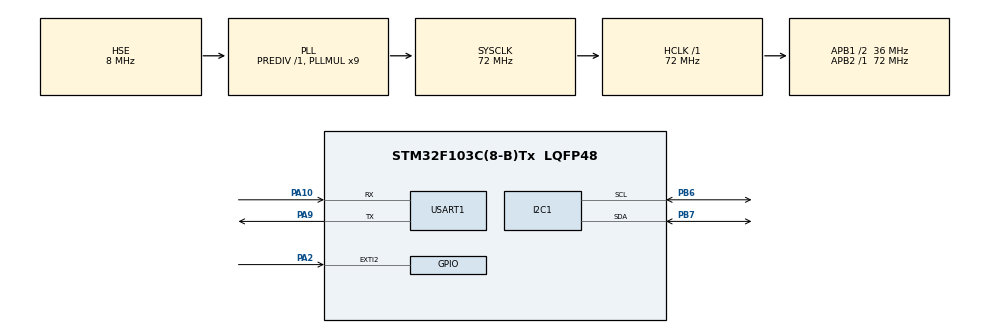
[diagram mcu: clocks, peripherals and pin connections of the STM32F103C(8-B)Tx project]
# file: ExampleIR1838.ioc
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Mcu.Family=STM32F1
Mcu.Name=STM32F103C(8-B)Tx
Mcu.Package=LQFP48
NVIC.EXTI2_IRQn=true\:0\:0\:false\:false\:true\:true\:true\:true
NVIC.PriorityGroup=NVIC_PRIORITYGROUP_4
PA10.Mode=Asynchronous
PA10.Signal=USART1_RX
PA13.Mode=Serial_Wire
PA13.Signal=SYS_JTMS-SWDIO
PA14.Mode=Serial_Wire
PA14.Signal=SYS_JTCK-SWCLK
PA2.GPIO_ModeDefaultEXTI=GPIO_MODE_IT_RISING_FALLING
PA2.GPIO_PuPd=GPIO_PULLUP
PA2.Signal=GPXTI2
PA9.Mode=Asynchronous
PA9.Signal=USART1_TX
PB6.Mode=I2C
PB6.Signal=I2C1_SCL
PB7.Mode=I2C
PB7.Signal=I2C1_SDA
PD0-OSC_IN.Mode=HSE-External-Oscillator
PD0-OSC_IN.Signal=RCC_OSC_IN
PD1-OSC_OUT.Mode=HSE-External-Oscillator
PD1-OSC_OUT.Signal=RCC_OSC_OUT
ProjectManager.HeapSize=0x200
ProjectManager.StackSize=0x400
ProjectManager.TargetToolchain=STM32CubeIDE
RCC.AHBFreq_Value=72000000
RCC.APB1CLKDivider=RCC_HCLK_DIV2
RCC.APB1Freq_Value=36000000
RCC.APB1TimFreq_Value=72000000
RCC.APB2Freq_Value=72000000
RCC.APB2TimFreq_Value=72000000
RCC.HCLKFreq_Value=72000000
RCC.PLLMUL=RCC_PLL_MUL9
RCC.PLLSourceVirtual=RCC_PLLSOURCE_HSE
RCC.SYSCLKFreq_VALUE=72000000
RCC.SYSCLKSource=RCC_SYSCLKSOURCE_PLLCLK
RCC.USBFreq_Value=72000000
TIM1.Prescaler=71
USART1.VirtualMode=VM_ASYNC
VP_TIM1_VS_ClockSourceINT.Mode=Internal
board=custom

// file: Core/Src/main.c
/* USER CODE BEGIN Header */
/**
  ******************************************************************************
  * @file           : main.c
  * @brief          : Main program body
  ******************************************************************************
  * @attention
  *
  * Copyright (c) 2025 STMicroelectronics.
  * All rights reserved.
  *
  * This software is licensed under terms that can be found in the LICENSE file
  * in the root directory of this software component.
  * If no LICENSE file comes with this software, it is provided AS-IS.
  *
  ******************************************************************************
  */
/* USER CODE END Header */
#include "main.h"

/* USER CODE BEGIN Includes */
#include "stdio.h"
#include "string.h"
#include "stdbool.h"
#include "IR1838.h"
#include "ssd1306_conf.h"
#include "ssd1306_fonts.h"
#include "ssd1306_tests.h"
#include "ssd1306.h"
/* USER CODE END Includes */

I2C_HandleTypeDef hi2c1;

TIM_HandleTypeDef htim1;

UART_HandleTypeDef huart1;

void SystemClock_Config(void);
static void MX_GPIO_Init(void);
static void MX_I2C1_Init(void);
static void MX_TIM1_Init(void);
static void MX_USART1_UART_Init(void);
/* USER CODE BEGIN PFP */
int _write(int file, char *ptr, int len) {
    HAL_UART_Transmit(&huart1, (uint8_t *)ptr, len, HAL_MAX_DELAY);
    return len;
}
/* USER CODE END PFP */

/* USER CODE BEGIN 0 */
// Pass EXTI callback to library
void HAL_GPIO_EXTI_Callback(uint16_t GPIO_Pin) {
    IR1838_EXTI_Callback(GPIO_Pin);
}
/* USER CODE END 0 */

int main(void)
{

  /* MCU Configuration--------------------------------------------------------*/

  /* Reset of all peripherals, Initializes the Flash interface and the Systick. */
  HAL_Init();

  /* Configure the system clock */
  SystemClock_Config();

  /* Initialize all configured peripherals */
  MX_GPIO_Init();
  MX_I2C1_Init();
  MX_TIM1_Init();
  MX_USART1_UART_Init();
  /* USER CODE BEGIN 2 */
	// Init IR1838
	IR1838_Init(&htim1, GPIOA, GPIO_PIN_2);
	printf("=== IR Receiver Library Test ===\r\n");

	// Init SSD1306
	ssd1306_Init();
  /* USER CODE END 2 */

  /* Infinite loop */
  /* USER CODE BEGIN WHILE */
	while (1) {
		if (IR_Ready) {
		        const char* btn = IR1838_Decode(IR_Code);

		        // In ra UART
		        printf("Button: %s | Code: 0x%08lX\r\n", btn, IR_Code);

		        // Xóa màn hình
		        ssd1306_Fill(Black);

		        // Hiển thị text
		        ssd1306_SetCursor(0, 0);
		        ssd1306_WriteString("IR Remote", Font_7x10, White);

		        ssd1306_SetCursor(0, 15);
		        ssd1306_WriteString("Button: ", Font_7x10, White);
		        ssd1306_WriteString((char*)btn, Font_7x10, White);

		        ssd1306_SetCursor(0, 30);
		        ssd1306_WriteString("Code: ", Font_7x10, White);

		        char codeStr[15];
		        sprintf(codeStr, "0x%08lX", IR_Code);
		        ssd1306_WriteString(codeStr, Font_7x10, White);

		        // Cập nhật màn hình
		        ssd1306_UpdateScreen();

		        // Reset flag để nhận lần tiếp theo
		        IR_Ready = 0;
		    }

		    HAL_Delay(50);
    /* USER CODE END WHILE */

	}
}

void SystemClock_Config(void)
{
  RCC_OscInitTypeDef RCC_OscInitStruct = {0};
  RCC_ClkInitTypeDef RCC_ClkInitStruct = {0};

  /** Initializes the RCC Oscillators according to the specified parameters
  * in the RCC_OscInitTypeDef structure.
  */
  RCC_OscInitStruct.OscillatorType = RCC_OSCILLATORTYPE_HSE;
  RCC_OscInitStruct.HSEState = RCC_HSE_ON;
  RCC_OscInitStruct.HSEPredivValue = RCC_HSE_PREDIV_DIV1;
  RCC_OscInitStruct.HSIState = RCC_HSI_ON;
  RCC_OscInitStruct.PLL.PLLState = RCC_PLL_ON;
  RCC_OscInitStruct.PLL.PLLSource = RCC_PLLSOURCE_HSE;
  RCC_OscInitStruct.PLL.PLLMUL = RCC_PLL_MUL9;
  if (HAL_RCC_OscConfig(&RCC_OscInitStruct) != HAL_OK)
  {
    Error_Handler();
  }

  /** Initializes the CPU, AHB and APB buses clocks
  */
  RCC_ClkInitStruct.ClockType = RCC_CLOCKTYPE_HCLK|RCC_CLOCKTYPE_SYSCLK
                              |RCC_CLOCKTYPE_PCLK1|RCC_CLOCKTYPE_PCLK2;
  RCC_ClkInitStruct.SYSCLKSource = RCC_SYSCLKSOURCE_PLLCLK;
  RCC_ClkInitStruct.AHBCLKDivider = RCC_SYSCLK_DIV1;
  RCC_ClkInitStruct.APB1CLKDivider = RCC_HCLK_DIV2;
  RCC_ClkInitStruct.APB2CLKDivider = RCC_HCLK_DIV1;

  if (HAL_RCC_ClockConfig(&RCC_ClkInitStruct, FLASH_LATENCY_2) != HAL_OK)
  {
    Error_Handler();
  }
}

static void MX_I2C1_Init(void)
{

  hi2c1.Instance = I2C1;
  hi2c1.Init.ClockSpeed = 100000;
  hi2c1.Init.DutyCycle = I2C_DUTYCYCLE_2;
  hi2c1.Init.OwnAddress1 = 0;
  hi2c1.Init.AddressingMode = I2C_ADDRESSINGMODE_7BIT;
  hi2c1.Init.DualAddressMode = I2C_DUALADDRESS_DISABLE;
  hi2c1.Init.OwnAddress2 = 0;
  hi2c1.Init.GeneralCallMode = I2C_GENERALCALL_DISABLE;
  hi2c1.Init.NoStretchMode = I2C_NOSTRETCH_DISABLE;
  if (HAL_I2C_Init(&hi2c1) != HAL_OK)
  {
    Error_Handler();
  }

}

static void MX_TIM1_Init(void)
{

  TIM_ClockConfigTypeDef sClockSourceConfig = {0};
  TIM_MasterConfigTypeDef sMasterConfig = {0};

  htim1.Instance = TIM1;
  htim1.Init.Prescaler = 71;
  htim1.Init.CounterMode = TIM_COUNTERMODE_UP;
  htim1.Init.Period = 65535;
  htim1.Init.ClockDivision = TIM_CLOCKDIVISION_DIV1;
  htim1.Init.RepetitionCounter = 0;
  htim1.Init.AutoReloadPreload = TIM_AUTORELOAD_PRELOAD_DISABLE;
  if (HAL_TIM_Base_Init(&htim1) != HAL_OK)
  {
    Error_Handler();
  }
  sClockSourceConfig.ClockSource = TIM_CLOCKSOURCE_INTERNAL;
  if (HAL_TIM_ConfigClockSource(&htim1, &sClockSourceConfig) != HAL_OK)
  {
    Error_Handler();
  }
  sMasterConfig.MasterOutputTrigger = TIM_TRGO_RESET;
  sMasterConfig.MasterSlaveMode = TIM_MASTERSLAVEMODE_DISABLE;
  if (HAL_TIMEx_MasterConfigSynchronization(&htim1, &sMasterConfig) != HAL_OK)
  {
    Error_Handler();
  }

}

static void MX_USART1_UART_Init(void)
{

  huart1.Instance = USART1;
  huart1.Init.BaudRate = 115200;
  huart1.Init.WordLength = UART_WORDLENGTH_8B;
  huart1.Init.StopBits = UART_STOPBITS_1;
  huart1.Init.Parity = UART_PARITY_NONE;
  huart1.Init.Mode = UART_MODE_TX_RX;
  huart1.Init.HwFlowCtl = UART_HWCONTROL_NONE;
  huart1.Init.OverSampling = UART_OVERSAMPLING_16;
  if (HAL_UART_Init(&huart1) != HAL_OK)
  {
    Error_Handler();
  }

}

static void MX_GPIO_Init(void)
{
  GPIO_InitTypeDef GPIO_InitStruct = {0};

  /* GPIO Ports Clock Enable */
  __HAL_RCC_GPIOD_CLK_ENABLE();
  __HAL_RCC_GPIOA_CLK_ENABLE();
  __HAL_RCC_GPIOB_CLK_ENABLE();

  /*Configure GPIO pin : PA2 */
  GPIO_InitStruct.Pin = GPIO_PIN_2;
  GPIO_InitStruct.Mode = GPIO_MODE_IT_RISING_FALLING;
  GPIO_InitStruct.Pull = GPIO_PULLUP;
  HAL_GPIO_Init(GPIOA, &GPIO_InitStruct);

  /* EXTI interrupt init*/
  HAL_NVIC_SetPriority(EXTI2_IRQn, 0, 0);
  HAL_NVIC_EnableIRQ(EXTI2_IRQn);

}

void Error_Handler(void)
{
  __disable_irq();
  while (1)
  {
  }
}
